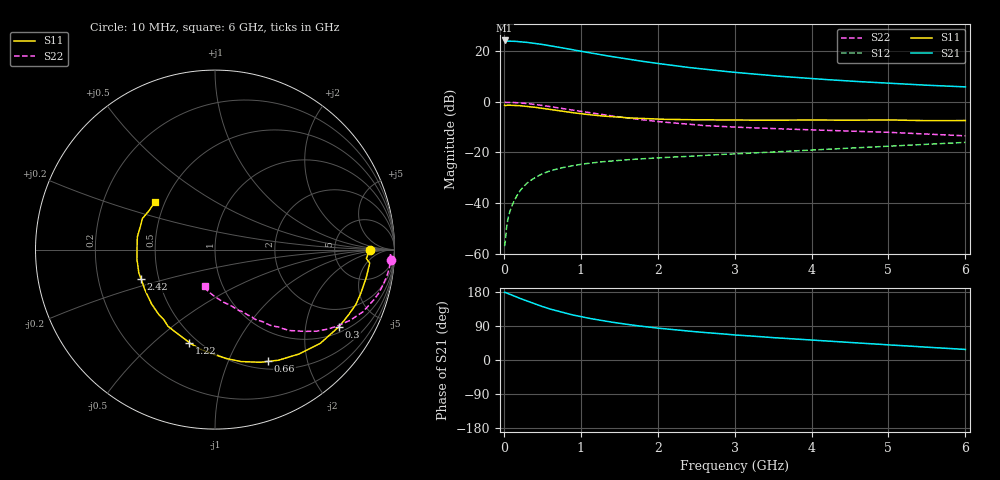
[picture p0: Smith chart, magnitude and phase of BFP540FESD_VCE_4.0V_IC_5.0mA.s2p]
! Infineon Technologies  Discrete & RF Semiconductors
! BFP540FESD
! VCE =  4.0 V,  IC =  5.0 mA
! Common Emitter S-Parameters:  Nov 2015
# GHz  S  MA  R  50
!  f  S11  S21  S12  S22
! GHz  MAG  ANG  MAG  ANG  MAG  ANG  MAG  ANG
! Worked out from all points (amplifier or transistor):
!   210 points, 10 MHz to 6 GHz, reference 50 ohm
!   highest |S21| = 24.3 dB at 10 MHz (marker M1)
!   |S21| within 3 dB of that: start of sweep to 773.2 MHz
!   unconditionally stable (mu >= 1): 2.772 GHz to end of sweep
!   at 185 MHz: K = 0.14, MSG = 30.1 dB, |S12| = -36.3 dB
!   at 1.52 GHz: K = 0.62, MSG = 20.2 dB, |S12| = -23.1 dB
!   at 6 GHz: K = 1.32, MAG = 7.6 dB, |S12| = -16.0 dB
!   S11 on the Smith chart (normalised r, x): 10 MHz: 14, -0; 300 MHz: 1.21, -3.07; 660 MHz: 0.59, -1.41; 1.22 GHz: 0.45, -0.66; 2.42 GHz: 0.40, -0.16; 6 GHz: 0.44, +0.29
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0.01  0.8623 -0.2  16.42 178.5  0.0014 39.2  0.9826 -3.4
0.02  0.8449 -3.3  15.77 178.2  0.0018 56.9  0.9777 -1.2
0.06  0.8631 -6.1  15.91 175.0  0.0054 77.2  0.9786 -3.6
0.15  0.848 -16.6  15.79 167.7  0.0122 78.0  0.9685 -9.0
0.2  0.8426 -21.2  15.51 163.3  0.0166 76.3  0.9559 -11.9
0.3  0.8138 -31.8  15.04 155.5  0.0246 72.4  0.9293 -17.4
0.4  0.7856 -41.6  14.39 148.1  0.0314 67.6  0.8949 -22.7
0.5  0.7469 -51.1  13.73 141.1  0.0377 64.3  0.8521 -27.4
0.6  0.7108 -60.1  12.89 134.6  0.0432 60.5  0.809 -31.5
0.66  0.6889 -64.7  12.44 131.4  0.0458 58.6  0.7842 -33.7
0.8  0.6409 -76.8  11.44 123.6  0.0514 54.0  0.7242 -38.9
0.9  0.6104 -84.0  10.71 118.7  0.0548 52.0  0.685 -41.7
1.02  0.5791 -92.0  9.935 113.7  0.0589 49.6  0.643 -44.8
1.22  0.5375 -105.4  8.758 106.0  0.0641 46.8  0.5787 -49.4
1.5  0.5009 -121.6  7.457 96.8  0.0696 43.5  0.5044 -55.1
1.8  0.4698 -135.7  6.349 88.7  0.075 41.6  0.4445 -60.4
2.02  0.4549 -145.1  5.714 83.7  0.0786 40.5  0.4063 -63.5
2.42  0.4427 -158.5  4.768 75.8  0.084 39.6  0.3618 -68.9
3.1  0.4368 -174.8  3.727 64.9  0.0952 39.0  0.3129 -76.7
4.1  0.4373 169.3  2.823 51.4  0.1135 38.2  0.2763 -85.9
5.1  0.4365 155.3  2.302 38.8  0.136 35.1  0.2462 -95.2
6  0.428 141.4  1.981 27.9  0.1583 31.2  0.2132 -105.7
